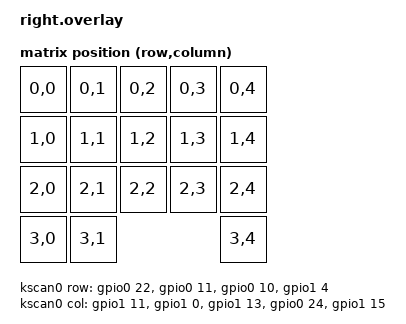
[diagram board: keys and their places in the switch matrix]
#include <dt-bindings/zmk/matrix_transform.h>

/ {
    chosen {
        zmk,kscan = &kscan0;
        zmk,matrix-transform = &default_transform;
    };

    default_transform: keymap_transform_0 {
        compatible = "zmk,matrix-transform";
        columns = <5>;
        rows = <4>;
        map = <
            RC(0,0) RC(0,1) RC(0,2) RC(0,3) RC(0,4)
            RC(1,0) RC(1,1) RC(1,2) RC(1,3) RC(1,4)
            RC(2,0) RC(2,1) RC(2,2) RC(2,3) RC(2,4)
            RC(3,0) RC(3,1)                 RC(3,4)
        >;
    };

    kscan0: kscan {
        compatible = "zmk,kscan-gpio-matrix";
        diode-direction = "col2row";

        col-gpios
            = <&gpio1 11 GPIO_ACTIVE_HIGH>
            , <&gpio1 0  GPIO_ACTIVE_HIGH>
            , <&gpio1 13 GPIO_ACTIVE_HIGH>
            , <&gpio0 24 GPIO_ACTIVE_HIGH>
            , <&gpio1 15 GPIO_ACTIVE_HIGH>
            ;
            
        row-gpios
            = <&gpio0 22 (GPIO_ACTIVE_HIGH | GPIO_PULL_DOWN)>
            , <&gpio0 11 (GPIO_ACTIVE_HIGH | GPIO_PULL_DOWN)>
            , <&gpio0 10 (GPIO_ACTIVE_HIGH | GPIO_PULL_DOWN)>
            , <&gpio1 4  (GPIO_ACTIVE_HIGH | GPIO_PULL_DOWN)>
            ;

    };
};

&pinctrl {
    spi0_default: spi0_default {
        group1 {
            psels = <NRF_PSEL(SPIM_SCK, 0, 8)>,
            <NRF_PSEL(SPIM_MOSI, 0, 17)>,
            <NRF_PSEL(SPIM_MISO, 0, 17)>;
        };
    };

    spi0_sleep: spi0_sleep {
        group1 {
            psels = <NRF_PSEL(SPIM_SCK, 0, 8)>,
            <NRF_PSEL(SPIM_MOSI, 0, 17)>,
            <NRF_PSEL(SPIM_MISO, 0, 17)>;
            low-power-enable;
        };
    };
};

#include <zephyr/dt-bindings/input/input-event-codes.h>

&spi0 {
    status = "okay";
    compatible = "nordic,nrf-spim";
    pinctrl-0 = <&spi0_default>;
    pinctrl-1 = <&spi0_sleep>;
    pinctrl-names = "default", "sleep";
    cs-gpios = <&gpio0 20 GPIO_ACTIVE_LOW>;

    trackball: trackball@0 {
        status = "okay";
        compatible = "pixart,pmw3610-alt";
        reg = <0>;
        spi-max-frequency = <2000000>;
        irq-gpios = <&gpio0 6 (GPIO_ACTIVE_LOW | GPIO_PULL_UP)>;
        cpi = <800>;
        // swap-xy; /* optional */
        invert-x; /* optional */
        invert-y; /* optional */
        evt-type = <INPUT_EV_REL>;
        x-input-code = <INPUT_REL_X>;
        y-input-code = <INPUT_REL_Y>;

        force-awake;
        /* keep the sensor awake while ZMK activity state is ACTIVE,
           fallback to normal downshift mode after ZMK goes into IDLE / SLEEP mode.
           thus, the sensor would be a `wakeup-source` */

        force-awake-4ms-mode;
        /* while force-awake is acitvated, enable this mode to force sampling per
           4ms, where the default sampling rate is 8ms. */
        /* NOTE: apply this mode if you need 250Hz with direct USB connection. */
    };
};

/ {
  trackball_listener {
    compatible = "zmk,input-listener";
    device = <&trackball>;
  };
};
